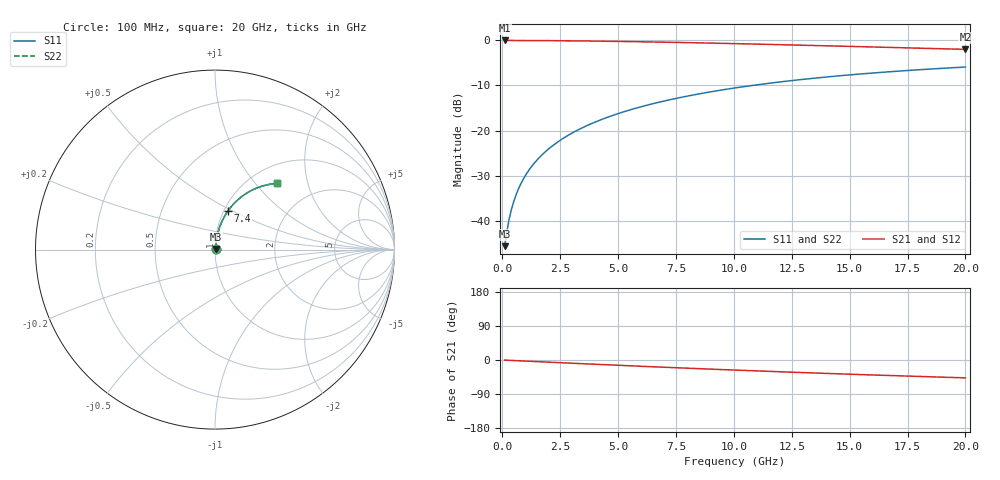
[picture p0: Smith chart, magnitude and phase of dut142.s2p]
! Touchstone file exported from HFSS 2024.1.0
!  File:  C:/UserFiles/LocalFiles/RDL_TSV_Batchsim/temp_RDL_bottom_142_1778696983.aedt
!  Generated:  02:32:35 AM May 14, 2026
!  Design:  RDL_bottom
!  Project:  temp_RDL_bottom_142_1778696983
!  Setup:  Setup1
!  Solution:  Sweep
! Variables:
!  dtsv = 10.80580581um
!  hbump = 3um
!  htsv = 86.08um
!  ldown = 611.47um
!  lrdl = 100um
!  p = 40
!  p1 = 54.4um
!  rhole = 1um
!  t = 450um
!  tdown = 3.97um
!  trdl = 3.915915916um
!  wdown = 13.39um
!  wrdl = 20um
# GHz S MA R 50.000000
! Terminal data exported
! Port[1] = RDL1_T1
! Port[2] = RDL1_T2
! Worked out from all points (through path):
!   200 points, 100 MHz to 20 GHz, reference 50 ohm
!   highest |S21| = -0.04 dB at 100 MHz (marker M1); lowest = -2.0 dB at 20 GHz (marker M2)
!   group delay of S21, straight-line fit = 6.54 ps
!   lowest |S11| = -45.6 dB at 100 MHz (marker M3), VSWR 1.01, Z = 50.4 + j0.327 ohm
!   |S11| at or under -10 dB: start of sweep to 10.79 GHz
!   |S22| runs from -45.6 to -5.9 dB; largest |S21 - S12| = 3e-15
!   S11 on the Smith chart (normalised r, x): 100 MHz: 1.01, +0.01; 7.4 GHz: 1.04, +0.47; 20 GHz: 1.32, +1.31
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0.1  0.005264 38.0  0.9959 -0.3  0.9959 -0.3  0.005264 38.0
! Gamma 0 0 0 0
! Port Impedance 50 0 50 0
0.2  0.007733 56.7  0.9958 -0.6  0.9958 -0.6  0.007733 56.7
0.3  0.0106 65.5  0.9956 -0.9  0.9956 -0.9  0.0106 65.5
0.4  0.01358 70.3  0.9955 -1.2  0.9955 -1.2  0.01358 70.3
0.5  0.01661 73.3  0.9953 -1.4  0.9953 -1.4  0.01661 73.3
0.6  0.01965 75.3  0.9951 -1.7  0.9951 -1.7  0.01965 75.3
0.8  0.02577 77.8  0.9947 -2.3  0.9947 -2.3  0.02577 77.8
1.1  0.03498 79.7  0.9941 -3.2  0.9941 -3.2  0.03498 79.7
1.5  0.04731 80.7  0.993 -4.3  0.993 -4.3  0.04731 80.7
1.8  0.05658 80.9  0.992 -5.1  0.992 -5.1  0.05658 80.9
2.1  0.06584 80.9  0.9908 -6.0  0.9908 -6.0  0.06584 80.9
2.7  0.08434 80.4  0.9881 -7.7  0.9881 -7.7  0.08434 80.4
3.5  0.1089 79.3  0.9834 -9.9  0.9834 -9.9  0.1089 79.3
4.2  0.1302 78.1  0.9786 -11.8  0.9786 -11.8  0.1302 78.1
5  0.1543 76.6  0.9722 -13.9  0.9722 -13.9  0.1543 76.6
6.8  0.2073 72.9  0.9554 -18.7  0.9554 -18.7  0.2073 72.9
7.4  0.2245 71.6  0.9491 -20.2  0.9491 -20.2  0.2245 71.7
8.7  0.2608 68.9  0.9347 -23.4  0.9347 -23.4  0.2609 68.9
10.1  0.2983 65.9  0.9182 -26.7  0.9182 -26.7  0.2984 65.9
13.4  0.3791 59.1  0.8769 -34.2  0.8769 -34.2  0.3791 59.1
16.7  0.4482 52.6  0.8346 -40.9  0.8346 -40.9  0.4483 52.7
20  0.5059 46.7  0.7934 -47.1  0.7934 -47.1  0.506 46.7
